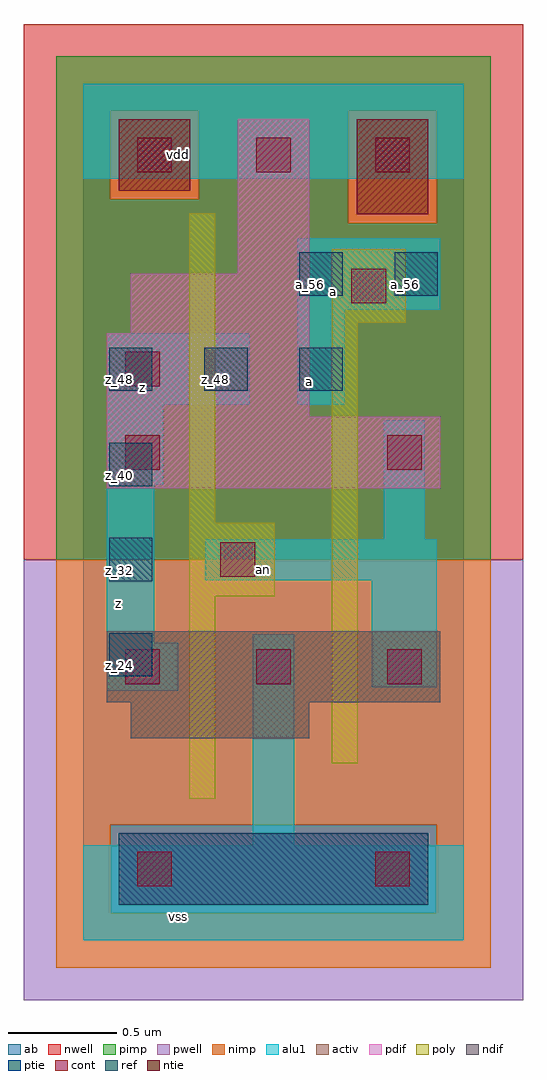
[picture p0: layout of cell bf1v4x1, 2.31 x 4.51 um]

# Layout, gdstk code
import gdstk
lib = gdstk.Library(unit=1e-6, precision=2.5e-09)
def R(c, l, rs):  # rectangles x0, y0, x1, y1
    for r in rs: c.add(gdstk.rectangle(r[:2], r[2:], *l))
def A(c, l, x, y, w, h, nx, ny, dx, dy):  # array of equal rectangles
    R(c, l, [(x+i*dx, y+j*dy, x+i*dx+w, y+j*dy+h) for i in range(nx) for j in range(ny)])
ndif = (3, 0)
pdif = (4, 0)
ntie = (5, 0)
ptie = (6, 0)
ref = (24, 0)
cont = (25, 0)
pwell = (41, 0)
nwell = (42, 0)
activ = (43, 0)
pimp = (44, 0)
nimp = (45, 0)
poly = (46, 0)
alu1 = (49, 0)
ab = (63, 0)

bf1v4x1 = lib.new_cell('bf1v4x1')
R(bf1v4x1, ndif, [(0.22,0.935,1.045,1.1), (0.11,1.1,1.65,1.43)])
R(bf1v4x1, pdif, [(0.11,2.09,1.65,2.42), (0.11,2.42,1.045,2.805), (0.22,2.805,1.045,3.08), (0.715,3.08,1.045,3.795)])
R(bf1v4x1, ntie, [(1.265,3.355,1.595,3.795), (0.165,3.465,0.495,3.795)])
R(bf1v4x1, ptie, [(0.165,0.165,1.595,0.495)])
A(bf1v4x1, ref, 0.12, 1.22, 0.2, 0.2, 1, 3, 0, 0.44)
A(bf1v4x1, ref, 0.12, 2.54, 0.2, 0.2, 3, 1, 0.44, 0)
R(bf1v4x1, ref, [(1,2.98,1.2,3.18), (1.44,2.98,1.64,3.18)])
A(bf1v4x1, cont, 0.195, 1.185, 0.16, 0.16, 3, 1, 0.605, 0)
A(bf1v4x1, cont, 0.25, 3.55, 0.16, 0.16, 3, 1, 0.55, 0)
R(bf1v4x1, cont, [(0.25,0.25,0.41,0.41), (1.35,0.25,1.51,0.41), (0.635,1.68,0.795,1.84), (0.195,2.175,0.355,2.335), (1.405,2.175,1.565,2.335), (0.195,2.56,0.355,2.72), (1.24,2.945,1.4,3.105)])
R(bf1v4x1, pwell, [(-0.275,-0.275,2.035,1.76)])
R(bf1v4x1, nwell, [(-0.275,1.76,2.035,4.235)])
R(bf1v4x1, activ, [(0.165,0.165,1.595,0.495), (0.22,0.935,1.045,1.1), (0.11,1.1,1.65,1.43), (0.11,2.09,1.65,2.42), (0.11,2.42,1.045,2.805), (0.22,2.805,1.045,3.08), (0.715,3.08,1.045,3.795), (1.265,3.355,1.595,3.795), (0.165,3.465,0.495,3.795)])
R(bf1v4x1, pimp, [(0.125,0.125,1.635,0.535), (-0.125,1.76,1.885,3.315), (-0.125,3.315,1.225,3.425), (1.635,3.315,1.885,3.835), (-0.125,3.425,0.125,3.835), (0.535,3.425,1.225,3.835), (-0.125,3.835,1.885,4.085)])
R(bf1v4x1, nimp, [(-0.125,-0.125,1.885,0.125), (-0.125,0.125,0.125,0.535), (1.635,0.125,1.885,0.535), (-0.125,0.535,1.885,1.76), (1.225,3.315,1.635,3.835), (0.125,3.425,0.535,3.835)])
R(bf1v4x1, poly, [(0.49,0.655,0.61,1.59), (1.15,0.82,1.27,2.855), (0.49,1.59,0.885,1.93), (0.49,1.93,0.61,3.36), (1.15,2.855,1.49,3.195)])
R(bf1v4x1, alu1, [(0,0,1.76,0.44), (0.785,0.44,0.975,1.415), (0.11,1.155,0.44,1.375), (1.335,1.17,1.635,1.665), (0.11,1.375,0.33,2.105), (0.565,1.665,1.635,1.855), (1.39,1.855,1.58,2.405), (0.11,2.105,0.37,2.475), (0.11,2.475,0.77,2.805), (0.99,2.475,1.21,2.915), (0.99,2.915,1.65,3.245), (0,3.52,1.76,3.96)])
R(bf1v4x1, ab, [(0,0,1.76,3.96)])
bf1v4x1.add(gdstk.Label('vss', (0.44,0.11), layer=49, texttype=0))
bf1v4x1.add(gdstk.Label('an', (0.8325,1.7125), layer=49, texttype=0))
bf1v4x1.add(gdstk.Label('z', (0.165,1.5575), layer=49, texttype=0))
bf1v4x1.add(gdstk.Label('a', (1.045,2.585), layer=49, texttype=0))
bf1v4x1.add(gdstk.Label('z', (0.275,2.5575), layer=49, texttype=0))
bf1v4x1.add(gdstk.Label('a', (1.155,2.9975), layer=49, texttype=0))
bf1v4x1.add(gdstk.Label('vdd', (0.44,3.63), layer=49, texttype=0))
bf1v4x1.add(gdstk.Label('z_48', (0.61,2.59), layer=24, texttype=0))
bf1v4x1.add(gdstk.Label('a_48', (1.05,2.59), layer=24, texttype=0))
bf1v4x1.add(gdstk.Label('a_56', (1.05,3.03), layer=24, texttype=0))
bf1v4x1.add(gdstk.Label('a_56', (1.49,3.03), layer=24, texttype=0))
bf1v4x1.add(gdstk.Label('z_24', (0.17,1.27), layer=24, texttype=0))
bf1v4x1.add(gdstk.Label('z_32', (0.17,1.71), layer=24, texttype=0))
bf1v4x1.add(gdstk.Label('z_40', (0.17,2.15), layer=24, texttype=0))
bf1v4x1.add(gdstk.Label('z_48', (0.17,2.59), layer=24, texttype=0))

lib.write_gds('bf1v4x1.gds')
